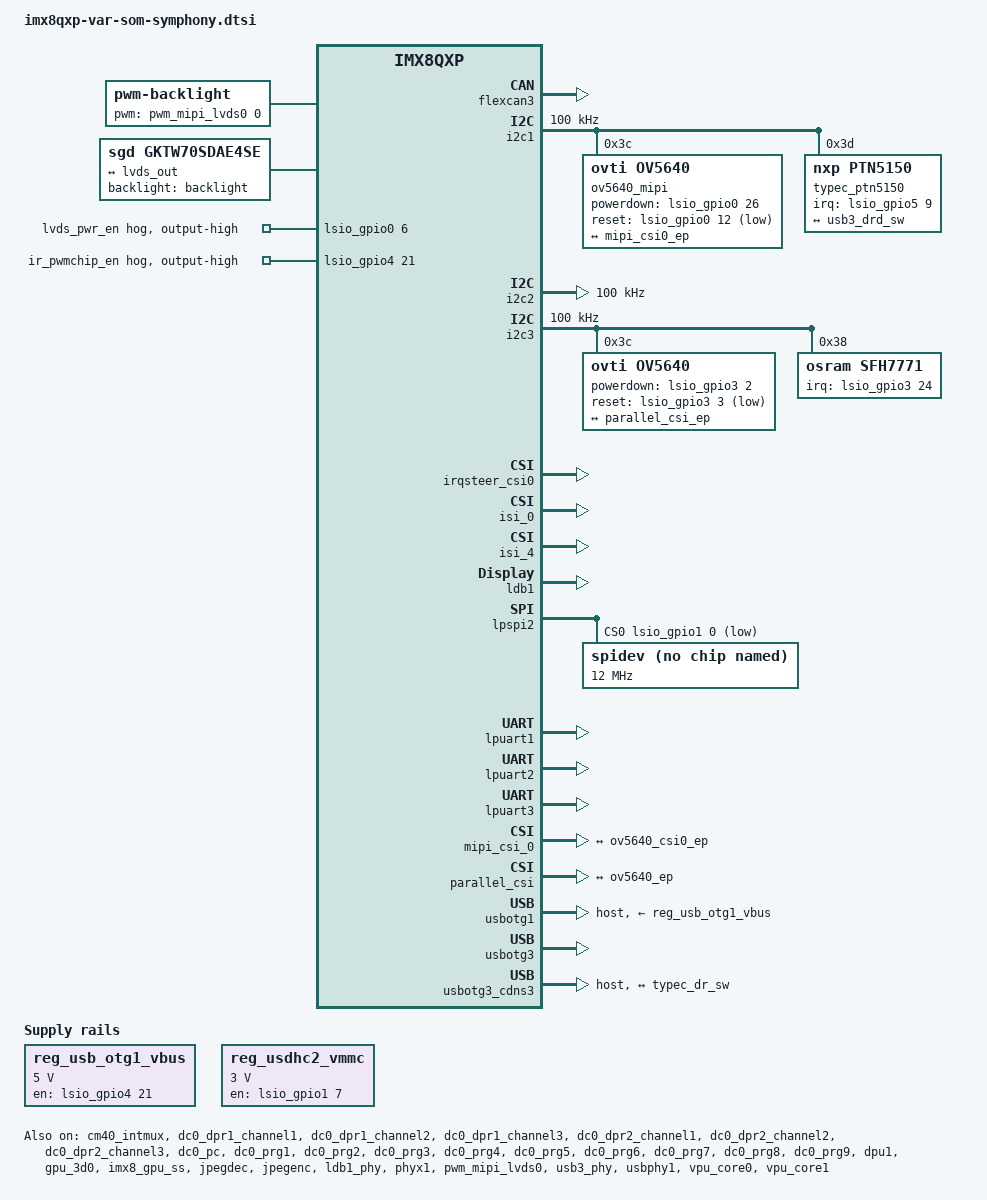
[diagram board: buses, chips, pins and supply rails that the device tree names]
// SPDX-License-Identifier: GPL-2.0+
/*
 * Copyright 2017-2020 NXP
 * Copyright 2019-2025 Variscite Ltd.
 */

#include "imx8qxp-var-som.dtsi"

/ {

	chosen {
		stdout-path = &lpuart3;
	};

	backlight: backlight {
		compatible = "pwm-backlight";
		pwms = <&pwm_mipi_lvds0 0 5000000 0>;

		brightness-levels = < 0  1  2  3  4  5  6  7  8  9
				     10 11 12 13 14 15 16 17 18 19
				     20 21 22 23 24 25 26 27 28 29
				     30 31 32 33 34 35 36 37 38 39
				     40 41 42 43 44 45 46 47 48 49
				     50 51 52 53 54 55 56 57 58 59
				     60 61 62 63 64 65 66 67 68 69
				     70 71 72 73 74 75 76 77 78 79
				     80 81 82 83 84 85 86 87 88 89
				     90 91 92 93 94 95 96 97 98 99
				    100>;
		default-brightness-level = <80>;
		status = "okay";
	};


	lvds_panel {
		compatible = "sgd,gktw70sdae4se", "panel-lvds";
		backlight = <&backlight>;
		width-mm = <153>;
		height-mm = <87>;
		label = "gktw70sdae4se";
		data-mapping = "jeida-24";
		status = "okay";

		panel-timing {
			clock-frequency = <69660000>;
			hactive = <1280>;
			vactive = <800>;
			hback-porch = <50>;
			hfront-porch = <20>;
			vback-porch = <40>;
			vfront-porch = <20>;
			hsync-len = <10>;
			vsync-len = <10>;
			hsync-active = <0>;
			vsync-active = <0>;
			de-active = <1>;
			pixelclk-active = <0>;
		};

		port {
			panel_in: endpoint {
				remote-endpoint = <&lvds_out>;
			};
		};
	};

	regulators {
		compatible = "simple-bus";
		#address-cells = <1>;
		#size-cells = <0>;

		reg_usb_otg1_vbus: regulator-usb-otg1-vbus {
			compatible = "regulator-fixed";
			regulator-name = "usb_otg1_vbus";
			regulator-min-microvolt = <5000000>;
			regulator-max-microvolt = <5000000>;
			gpio = <&lsio_gpio4 21 GPIO_ACTIVE_HIGH>;
			enable-active-high;
		};

		reg_usdhc2_vmmc: regulator-usdhc2-vmmc {
			compatible = "regulator-fixed";
			regulator-name = "sd_pwr";
			regulator-min-microvolt = <3000000>;
			regulator-max-microvolt = <3000000>;
			gpio = <&lsio_gpio1 7 GPIO_ACTIVE_HIGH>;
			off-on-delay = <3480>;
			enable-active-high;
		};
	};
};

&cm40_intmux {
	status = "okay";
};

&dc0_dpr1_channel1 {
	status = "okay";
};

&dc0_dpr1_channel2 {
	status = "okay";
};

&dc0_dpr1_channel3 {
	status = "okay";
};

&dc0_dpr2_channel1 {
	status = "okay";
};

&dc0_dpr2_channel2 {
	status = "okay";
};

&dc0_dpr2_channel3 {
	status = "okay";
};

&dc0_pc {
	status = "okay";
};

&dc0_prg1 {
	status = "okay";
};

&dc0_prg2 {
	status = "okay";

};

&dc0_prg3 {
	status = "okay";
};

&dc0_prg4 {
	status = "okay";
};

&dc0_prg5 {
	status = "okay";
};

&dc0_prg6 {
	status = "okay";
};

&dc0_prg7 {
	status = "okay";
};

&dc0_prg8 {
	status = "okay";
};

&dc0_prg9 {
	status = "okay";
};

&dpu1 {
	status = "okay";
};

&flexcan3 {
	pinctrl-names = "default";
	pinctrl-0 = <&pinctrl_flexcan3>;
	status = "okay";
};

&gpu_3d0 {
	status = "okay";
};

&i2c1 {
	#address-cells = <1>;
	#size-cells = <0>;
	clock-frequency = <100000>;
	pinctrl-names = "default";
	pinctrl-0 = <&pinctrl_lpi2c1>;
	status = "okay";

	/* MIPI-CSI2 sensor */
	ov5640_mipi: ov5640_mipi@3c {
		status = "okay";
		compatible = "ovti,ov5640";
		reg = <0x3c>;
		clocks = <&xtal24m>;
		clock-names = "xclk";
		csi_id = <0>;
		powerdown-gpios = <&lsio_gpio0 26 GPIO_ACTIVE_HIGH>;
		reset-gpios = <&lsio_gpio0 12 GPIO_ACTIVE_LOW>;
		mclk = <24000000>;
		mclk_source = <0>;
		mipi_csi;

		port {
			ov5640_csi0_ep: endpoint {
				remote-endpoint = <&mipi_csi0_ep>;
				data-lanes = <1 2>;
				clocks-lanes = <0>;
			};
		};
	};

	/* USB-C controller */
	typec_ptn5150: typec@3d {
		status = "okay";
		compatible = "nxp,ptn5150";
		reg = <0x3d>;
		pinctrl-names = "default";
		pinctrl-0 = <&pinctrl_typec>;
		interrupt-parent = <&lsio_gpio5>;
		interrupts = <9 IRQ_TYPE_LEVEL_HIGH>;
		irq-is-id-quirk;

		port {
			typec_dr_sw: endpoint {
				remote-endpoint = <&usb3_drd_sw>;
			};
		};
	};
};

&i2c2 {
	#address-cells = <1>;
	#size-cells = <0>;
	clock-frequency = <100000>;
	pinctrl-names = "default";
	pinctrl-0 = <&pinctrl_lpi2c2>;
	status = "okay";
};

&i2c3 {
	#address-cells = <1>;
	#size-cells = <0>;
	clock-frequency = <100000>;
	pinctrl-names = "default";
	pinctrl-0 = <&pinctrl_lpi2c3>;
	status = "okay";

	/* Parallel CSI sensor */
	ov5640: ov5640@3c {
		compatible = "ovti,ov5640";
		reg = <0x3c>;
		pinctrl-names = "default";
		pinctrl-0 = <&pinctrl_parallel_csi>;
		clocks = <&pi0_misc_lpcg 0>;
		assigned-clocks = <&pi0_misc_lpcg 0>;
		clock-names = "xclk";
		powerdown-gpios = <&lsio_gpio3 2 GPIO_ACTIVE_HIGH>;
		reset-gpios = <&lsio_gpio3 3 GPIO_ACTIVE_LOW>;
		csi_id = <0>;
		mclk = <24000000>;
		mclk_source = <0>;
		status = "okay";

		port {
			ov5640_ep: endpoint {
				remote-endpoint = <&parallel_csi_ep>;
				bus-type = <5>; /* V4L2_FWNODE_BUS_TYPE_PARALLEL */
				bus-width = <8>;
				vsync-active = <0>;
				hsync-active = <1>;
				pclk-sample = <1>;
			};
		};
	};


	/* Light sensor */
	sfh7771: sfh7771@38 {
		compatible = "osram,sfh7771";
		pinctrl-names = "default";
		pinctrl-0 = <&pinctrl_sfh7771>;
		reg = <0x38>;
		interrupt-parent = <&lsio_gpio3>;
		interrupts = <24 IRQ_TYPE_EDGE_FALLING>;
		status = "okay";
	};
};

&iomuxc {

	pinctrl_flexcan3: flexcan3grp {
		fsl,pins = <
			IMX8QXP_FLEXCAN2_TX_ADMA_FLEXCAN2_TX			0x06000020
			IMX8QXP_FLEXCAN2_RX_ADMA_FLEXCAN2_RX			0x06000020
		>;
	};

	pinctrl_lpi2c1: lpi2c1grp {
		fsl,pins = <
			IMX8QXP_USB_SS3_TC0_ADMA_I2C1_SCL			0x06000021
			IMX8QXP_USB_SS3_TC2_ADMA_I2C1_SDA			0x06000021
		>;
	};

	pinctrl_lpi2c2: lpi2c2grp {
		fsl,pins = <
			IMX8QXP_MIPI_DSI1_GPIO0_00_ADMA_I2C2_SCL		0x06000021
			IMX8QXP_MIPI_DSI1_GPIO0_01_ADMA_I2C2_SDA		0x06000021
		>;
	};

	pinctrl_lpi2c3: lpi2c3grp {
		fsl,pins = <
			IMX8QXP_SPI3_CS1_ADMA_I2C3_SCL				0x06000021
			IMX8QXP_MCLK_IN1_ADMA_I2C3_SDA				0x06000021
		>;
	};

	pinctrl_sfh7771: sfh7771grp {
		fsl,pins = <
			IMX8QXP_QSPI0B_SS1_B_LSIO_GPIO3_IO24		0x06000021
		>;
	};

	pinctrl_lpuart1: lpuart1grp {
		fsl,pins = <
			IMX8QXP_UART1_TX_ADMA_UART1_TX				0x06000020
			IMX8QXP_UART1_RX_ADMA_UART1_RX				0x06000020
		>;
	};

	pinctrl_lpuart2: lpuart2grp {
		fsl,pins = <
			IMX8QXP_UART2_TX_ADMA_UART2_TX				0x06000020
			IMX8QXP_UART2_RX_ADMA_UART2_RX				0x06000020
		>;
	};

	pinctrl_lpuart3: lpuart3grp {
		fsl,pins = <
			IMX8QXP_SCU_GPIO0_00_ADMA_UART3_RX			0x06000020
			IMX8QXP_SCU_GPIO0_01_ADMA_UART3_TX			0x06000020
		>;
	};

	pinctrl_lpspi2: lpspi2grp {
		fsl,pins = <
			IMX8QXP_SPI2_SCK_ADMA_SPI2_SCK				0x0600004c
			IMX8QXP_MCLK_IN0_ADMA_SPI2_SDI				0x0600004c
			IMX8QXP_SPI2_SDO_ADMA_SPI2_SDO				0x0600004c
			IMX8QXP_SPI2_CS0_LSIO_GPIO1_IO00			0x00000021
		>;
	};

	pinctrl_mipi_csi0: mipicsi0grp {
		fsl,pins = <
			IMX8QXP_SPDIF0_EXT_CLK_LSIO_GPIO0_IO12			0xC0000041
			IMX8QXP_SAI0_TXC_LSIO_GPIO0_IO26			0xC0000041
		>;
	};

	pinctrl_parallel_csi: parallelcsigrp {
		fsl,pins = <
			IMX8QXP_CSI_D00_CI_PI_D02				0xC0000041
			IMX8QXP_CSI_D01_CI_PI_D03				0xC0000041
			IMX8QXP_CSI_D02_CI_PI_D04				0xC0000041
			IMX8QXP_CSI_D03_CI_PI_D05				0xC0000041
			IMX8QXP_CSI_D04_CI_PI_D06				0xC0000041
			IMX8QXP_CSI_D05_CI_PI_D07				0xC0000041
			IMX8QXP_CSI_D06_CI_PI_D08				0xC0000041
			IMX8QXP_CSI_D07_CI_PI_D09				0xC0000041

			IMX8QXP_CSI_HSYNC_CI_PI_HSYNC				0xC0000041
			IMX8QXP_CSI_VSYNC_CI_PI_VSYNC				0xC0000041
			IMX8QXP_CSI_EN_LSIO_GPIO3_IO02				0xC0000041
			IMX8QXP_CSI_RESET_LSIO_GPIO3_IO03			0xC0000041
		>;
	};

	pinctrl_pwm_mipi_lvds0: mipi_lvds0_pwm_grp {
		fsl,pins = <
			IMX8QXP_MIPI_DSI0_GPIO0_00_MIPI_DSI0_PWM0_OUT		0x00000020
		>;
	};

	pinctrl_typec: typecgrp {
		fsl,pins = <
			IMX8QXP_ENET0_REFCLK_125M_25M_LSIO_GPIO5_IO09		0x00000060
		>;
	};

	pinctrl_usb1otg: usb1otggrp {
		fsl,pins = <
			/* IMX8QXP_USDHC1_WP_LSIO_GPIO4_IO21			0xC0000041 */ /* Need this for IR-LED-EN,
																* but must leave pinctrl definition*/
		>;
	};
};

&imx8_gpu_ss {
	status = "okay";
};

&irqsteer_csi0 {
	status = "okay";
};

&isi_0 {
	status = "okay";

	cap_device {
		status = "okay";
	};

	m2m_device {
		status = "okay";
	};
};

&isi_1 {
	status = "disabled";
};

&isi_2 {
	status = "disabled";
};

&isi_3 {
	status = "disabled";
};

&isi_4 {
	status = "okay";
	interface = <6 0 2>;
	parallel_csi;

	cap_device {
		status = "okay";
	};
};

&jpegdec {
	status = "okay";
};

&jpegenc {
	status = "okay";
};

&ldb1 {
	status = "okay";
	lvds-channel@0 {
		fsl,data-mapping = "spwg";
		fsl,data-width = <24>;
		status = "okay";

		port@1 {
			reg = <1>;

			lvds_out: endpoint {
				remote-endpoint = <&panel_in>;
			};
		};
	};
};

&ldb1_phy {
	status = "okay";
};

&ldb2 {
	status = "disabled";
};

&ldb2_phy {
	status = "disabled";
};

&lpspi2 {
	#address-cells = <1>;
	#size-cells = <0>;
	pinctrl-names = "default";
	pinctrl-0 = <&pinctrl_lpspi2>;
	cs-gpios = <&lsio_gpio1 0 GPIO_ACTIVE_LOW>;
	status = "okay";

	spidev@0 {
		compatible = "var,spidev";
		spi-max-frequency = <12000000>;
		reg = <0>;
		status = "okay";
	};
};

/* Header */
&lpuart1 {
	pinctrl-names = "default";
	pinctrl-0 = <&pinctrl_lpuart1>;
	status = "okay";
};

/* Header */
&lpuart2 {
	pinctrl-names = "default";
	pinctrl-0 = <&pinctrl_lpuart2>;
	status = "okay";
};

/* Console */
&lpuart3 {
	pinctrl-names = "default";
	pinctrl-0 = <&pinctrl_lpuart3>;
	/delete-property/ dmas;
	/delete-property/ dma-names;
	status = "okay";
};

&lsio_gpio0 {
	/* Enable wakeup-source from Capacitive touch */

	pad-wakeup-num = <1>;	/* Total number of wakeup pads in gpio0 bank */

	/*
	 * IMX8QXP_UART1_CTS_B:   Touch IRQ pin id
	 * SC_PAD_WAKEUP_LOW_LVL: trigger type
	 * 24:                    Touch IRQ gpio pin
	 */
	pad-wakeup = <IMX8QXP_UART1_CTS_B SC_PAD_WAKEUP_LOW_LVL 24>;

	lvds_en_hog {
		gpio-hog;
		gpios = <6 0>;
		output-high;
		line-name = "lvds_pwr_en";
	};
};

&lsio_gpio3 {
	pinctrl-names = "default";
	pinctrl-0 = <&pinctrl_mipi_csi0>;
};

&lsio_gpio4 {
	ir_pwmchip_en {
		gpio-hog;
		gpios = <21 0>;
		output-high;
		line-name = "ir_pwmchip_en";
	};
};

&mipi_csi_0 {
	status = "okay";

	/* Camera 0  MIPI CSI-2 (CSIS0) */
	port {
		mipi_csi0_ep: endpoint {
			remote-endpoint = <&ov5640_csi0_ep>;
			data-lanes = <1 2>;
		};
	};
};

&parallel_csi {
	#address-cells = <1>;
	#size-cells = <0>;
	status = "okay";

	port@0 {
		reg = <0>;
		parallel_csi_ep: endpoint {
			remote-endpoint = <&ov5640_ep>;
		};
	};
};

&phyx1 {
	fsl,refclk-pad-mode = <IMX8_PCIE_REFCLK_PAD_INPUT>;
	status = "okay";
};

&phyx1_lpcg {
	clocks = <&xtal100m>, <&hsio_per_clk>,
		<&hsio_per_clk>, <&hsio_per_clk>;
};

&pwm_mipi_lvds0 {
	pinctrl-names = "default";
	pinctrl-0 = <&pinctrl_pwm_mipi_lvds0>;
	status = "okay";
};

&rtc {
	status = "disabled";
};

&usb3_phy {
	status = "okay";
};

&usbotg1 {
	vbus-supply = <&reg_usb_otg1_vbus>;
	srp-disable;
	hnp-disable;
	adp-disable;
	power-polarity-active-high;
	disable-over-current;
	status = "okay";
	dr_mode = "host";
	pinctrl-names = "default";
	pinctrl-0 = <&pinctrl_usb1otg>;
};

&usbotg3 {
	status = "okay";
};

&usbotg3_cdns3 {
	dr_mode = "host";
	usb-role-switch;
	status = "okay";

	port {
		usb3_drd_sw: endpoint {
			remote-endpoint = <&typec_dr_sw>;
		};
	};
};

&usbphy1 {
	status = "okay";
};

&vpu_core0 {
	status = "okay";
};

&vpu_core1 {
	status = "okay";

};

/delete-node/ &adc1;
/delete-node/ &adc1_lpcg;
/delete-node/ &emvsim0;
/delete-node/ &emvsim0_lpcg;
/delete-node/ &hdmi_rx_pxl_link_lpcg;
/delete-node/ &hsio_refa_clk;
/delete-node/ &hsio_refb_clk;
